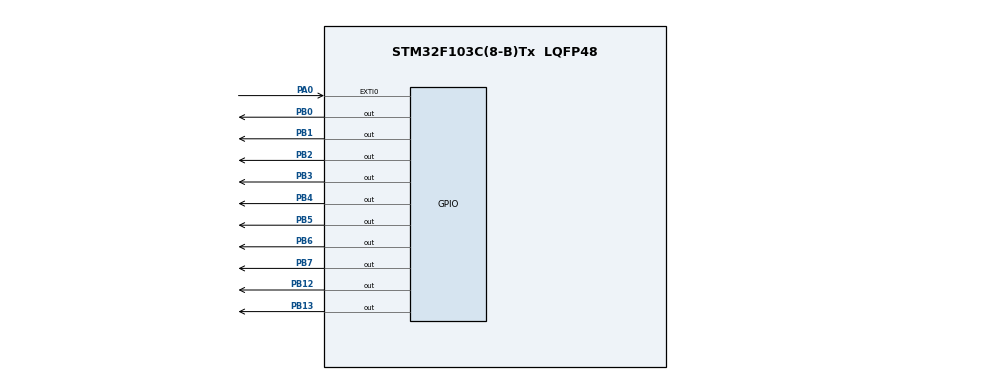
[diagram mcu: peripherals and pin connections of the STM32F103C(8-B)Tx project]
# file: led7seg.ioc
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Mcu.Family=STM32F1
Mcu.Name=STM32F103C(8-B)Tx
Mcu.Package=LQFP48
NVIC.EXTI0_IRQn=true\:1\:0\:true\:false\:true\:true\:true\:true
NVIC.PriorityGroup=NVIC_PRIORITYGROUP_4
NVIC.TIM2_IRQn=true\:0\:0\:true\:false\:true\:true\:true\:true
PA0-WKUP.GPIO_ModeDefaultEXTI=GPIO_MODE_IT_FALLING
PA0-WKUP.GPIO_PuPd=GPIO_PULLUP
PA0-WKUP.Signal=GPXTI0
PB0.Signal=GPIO_Output
PB1.Signal=GPIO_Output
PB12.Signal=GPIO_Output
PB13.Signal=GPIO_Output
PB2.Signal=GPIO_Output
PB3.Signal=GPIO_Output
PB4.Signal=GPIO_Output
PB5.Signal=GPIO_Output
PB6.Signal=GPIO_Output
PB7.Signal=GPIO_Output
ProjectManager.HeapSize=0x200
ProjectManager.StackSize=0x400
ProjectManager.TargetToolchain=MDK-ARM V5.32
RCC.APB1Freq_Value=8000000
RCC.APB2Freq_Value=8000000
TIM2.Period=5000
TIM2.Prescaler=8000 - 1
VP_SYS_VS_ND.Mode=No_Debug
VP_TIM2_VS_ClockSourceINT.Mode=Internal
board=custom

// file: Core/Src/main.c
/* USER CODE BEGIN Header */
/**
  ******************************************************************************
  * @file           : main.c
  * @brief          : Main program body
  ******************************************************************************
  * @attention
  *
  * Copyright (c) 2025 STMicroelectronics.
  * All rights reserved.
  *
  * This software is licensed under terms that can be found in the LICENSE file
  * in the root directory of this software component.
  * If no LICENSE file comes with this software, it is provided AS-IS.
  *
  ******************************************************************************
  */
/* USER CODE END Header */
#include "main.h"

TIM_HandleTypeDef htim2;

/* USER CODE BEGIN PV */
const uint8_t segment_map[10][7] = {
    {1, 1, 1, 1, 1, 1, 0}, // 0
    {0, 1, 1, 0, 0, 0, 0}, // 1
    {1, 1, 0, 1, 1, 0, 1}, // 2
    {1, 1, 1, 1, 0, 0, 1}, // 3
    {0, 1, 1, 0, 0, 1, 1}, // 4
    {1, 0, 1, 1, 0, 1, 1}, // 5
    {1, 0, 1, 1, 1, 1, 1}, // 6
    {1, 1, 1, 0, 0, 0, 0}, // 7
    {1, 1, 1, 1, 1, 1, 1}, // 8
    {1, 1, 1, 1, 0, 1, 1}  // 9
};

//
volatile uint8_t g_counter = 0;

// debounce)
volatile uint32_t g_last_press_time = 0;
/* USER CODE END PV */

void SystemClock_Config(void);
static void MX_GPIO_Init(void);
static void MX_TIM2_Init(void);
/* USER CODE BEGIN PFP */
void Display_Number(uint8_t num) {
    if (num > 9) return;

    // G�n gi� tr? cho 7 ch�n theo m?ng tra c?u
    HAL_GPIO_WritePin(GPIOB, GPIO_PIN_0, segment_map[num][0]); // a
    HAL_GPIO_WritePin(GPIOB, GPIO_PIN_1, segment_map[num][1]); // b
    HAL_GPIO_WritePin(GPIOB, GPIO_PIN_2, segment_map[num][2]); // c
    HAL_GPIO_WritePin(GPIOB, GPIO_PIN_3, segment_map[num][3]); // d
    HAL_GPIO_WritePin(GPIOB, GPIO_PIN_4, segment_map[num][4]); // e
    HAL_GPIO_WritePin(GPIOB, GPIO_PIN_5, segment_map[num][5]); // f
    HAL_GPIO_WritePin(GPIOB, GPIO_PIN_6, segment_map[num][6]); // g
}
/* USER CODE END PFP */

/* USER CODE BEGIN 0 */
/**
  * @brief  H�m Callback x? l� ng?t ngo�i EXTI.
  * @param  GPIO_Pin: Ch�n GPIO g�y ra ng?t
  * @retval None
  */
void HAL_TIM_PeriodElapsedCallback(TIM_HandleTypeDef *htim)
{
    if (htim->Instance == TIM2)
    {
        // Bật đèn D2 (PB14) lên để báo hiệu: "Timer đang chiếm quyền điều khiển!"
        HAL_GPIO_WritePin(GPIOB, GPIO_PIN_13, GPIO_PIN_SET);

        // === GIẢ LẬP TÁC VỤ NẶNG (TREO CPU KHOẢNG 2-3 GIÂY) ===
        // Số lần lặp này tùy thuộc tốc độ máy tính mô phỏng,
        // bạn có thể tăng/giảm số 2000000 để thay đổi thời gian treo.
        for (volatile uint32_t i = 0; i < 200000; i++)
        {
            // do nothing
        }

        // Tắt đèn D2 để báo hiệu: "Timer đã chạy xong"
        HAL_GPIO_WritePin(GPIOB, GPIO_PIN_13, GPIO_PIN_RESET);
    }
}
//C�u h?i v? m?c uu ti�n date: 6/11/25
void HAL_GPIO_EXTI_Callback(uint16_t GPIO_Pin) {
    // Check if pin PA0 create interrupt
    if (GPIO_Pin == GPIO_PIN_0) {

        // K? thu?t ch?ng d?i (Debouncing)
        // Ki?m tra xem l?n nh?n cu?i c�ng c� c�ch d�y > 200ms kh�ng
        uint32_t current_time = HAL_GetTick();
        if (current_time - g_last_press_time > 200) {

            //++
            g_counter++;

            if (g_counter > 9) {
                g_counter = 0;
            }
            //HAL_GPIO_TogglePin(
						if ( g_counter % 2 ==0)
						{
							HAL_GPIO_WritePin(GPIOB, GPIO_PIN_12, GPIO_PIN_SET);
							//HAL_GPIO_WritePin(GPIOB, GPIO_PIN_13, GPIO_PIN_RESET);
						}else{
							HAL_GPIO_WritePin(GPIOB, GPIO_PIN_12, GPIO_PIN_RESET);
							//HAL_GPIO_WritePin(GPIOB, GPIO_PIN_13, GPIO_PIN_SET);
						}
						//update last press time
            g_last_press_time = current_time;
        }
    }
}
/* USER CODE END 0 */

int main(void)
{

  /* MCU Configuration--------------------------------------------------------*/

  /* Reset of all peripherals, Initializes the Flash interface and the Systick. */
  HAL_Init();

  /* Configure the system clock */
  SystemClock_Config();

  /* Initialize all configured peripherals */
  MX_GPIO_Init();
  MX_TIM2_Init();
  /* USER CODE BEGIN 2 */
	HAL_TIM_Base_Start_IT(&htim2);
  /* USER CODE END 2 */

  /* Infinite loop */
  while (1)
  {

  }
}

void SystemClock_Config(void)
{
  RCC_OscInitTypeDef RCC_OscInitStruct = {0};
  RCC_ClkInitTypeDef RCC_ClkInitStruct = {0};

  /** Initializes the RCC Oscillators according to the specified parameters
  * in the RCC_OscInitTypeDef structure.
  */
  RCC_OscInitStruct.OscillatorType = RCC_OSCILLATORTYPE_HSI;
  RCC_OscInitStruct.HSIState = RCC_HSI_ON;
  RCC_OscInitStruct.HSICalibrationValue = RCC_HSICALIBRATION_DEFAULT;
  RCC_OscInitStruct.PLL.PLLState = RCC_PLL_NONE;
  if (HAL_RCC_OscConfig(&RCC_OscInitStruct) != HAL_OK)
  {
    Error_Handler();
  }

  /** Initializes the CPU, AHB and APB buses clocks
  */
  RCC_ClkInitStruct.ClockType = RCC_CLOCKTYPE_HCLK|RCC_CLOCKTYPE_SYSCLK
                              |RCC_CLOCKTYPE_PCLK1|RCC_CLOCKTYPE_PCLK2;
  RCC_ClkInitStruct.SYSCLKSource = RCC_SYSCLKSOURCE_HSI;
  RCC_ClkInitStruct.AHBCLKDivider = RCC_SYSCLK_DIV1;
  RCC_ClkInitStruct.APB1CLKDivider = RCC_HCLK_DIV1;
  RCC_ClkInitStruct.APB2CLKDivider = RCC_HCLK_DIV1;

  if (HAL_RCC_ClockConfig(&RCC_ClkInitStruct, FLASH_LATENCY_0) != HAL_OK)
  {
    Error_Handler();
  }
}

static void MX_TIM2_Init(void)
{

  TIM_ClockConfigTypeDef sClockSourceConfig = {0};
  TIM_MasterConfigTypeDef sMasterConfig = {0};

  htim2.Instance = TIM2;
  htim2.Init.Prescaler = 8000 - 1;
  htim2.Init.CounterMode = TIM_COUNTERMODE_UP;
  htim2.Init.Period = 5000;
  htim2.Init.ClockDivision = TIM_CLOCKDIVISION_DIV1;
  htim2.Init.AutoReloadPreload = TIM_AUTORELOAD_PRELOAD_DISABLE;
  if (HAL_TIM_Base_Init(&htim2) != HAL_OK)
  {
    Error_Handler();
  }
  sClockSourceConfig.ClockSource = TIM_CLOCKSOURCE_INTERNAL;
  if (HAL_TIM_ConfigClockSource(&htim2, &sClockSourceConfig) != HAL_OK)
  {
    Error_Handler();
  }
  sMasterConfig.MasterOutputTrigger = TIM_TRGO_RESET;
  sMasterConfig.MasterSlaveMode = TIM_MASTERSLAVEMODE_DISABLE;
  if (HAL_TIMEx_MasterConfigSynchronization(&htim2, &sMasterConfig) != HAL_OK)
  {
    Error_Handler();
  }

}

static void MX_GPIO_Init(void)
{
  GPIO_InitTypeDef GPIO_InitStruct = {0};

  /* GPIO Ports Clock Enable */
  __HAL_RCC_GPIOA_CLK_ENABLE();
  __HAL_RCC_GPIOB_CLK_ENABLE();

  /*Configure GPIO pin Output Level */
  HAL_GPIO_WritePin(GPIOB, GPIO_PIN_0|GPIO_PIN_1|GPIO_PIN_2|GPIO_PIN_12
                          |GPIO_PIN_13|GPIO_PIN_3|GPIO_PIN_4|GPIO_PIN_5
                          |GPIO_PIN_6|GPIO_PIN_7, GPIO_PIN_RESET);

  /*Configure GPIO pin : PA0 */
  GPIO_InitStruct.Pin = GPIO_PIN_0;
  GPIO_InitStruct.Mode = GPIO_MODE_IT_FALLING;
  GPIO_InitStruct.Pull = GPIO_PULLUP;
  HAL_GPIO_Init(GPIOA, &GPIO_InitStruct);

  /*Configure GPIO pins : PB0 PB1 PB2 PB12
                           PB13 PB3 PB4 PB5
                           PB6 PB7 */
  GPIO_InitStruct.Pin = GPIO_PIN_0|GPIO_PIN_1|GPIO_PIN_2|GPIO_PIN_12
                          |GPIO_PIN_13|GPIO_PIN_3|GPIO_PIN_4|GPIO_PIN_5
                          |GPIO_PIN_6|GPIO_PIN_7;
  GPIO_InitStruct.Mode = GPIO_MODE_OUTPUT_PP;
  GPIO_InitStruct.Pull = GPIO_NOPULL;
  GPIO_InitStruct.Speed = GPIO_SPEED_FREQ_LOW;
  HAL_GPIO_Init(GPIOB, &GPIO_InitStruct);

  /* EXTI interrupt init*/
  HAL_NVIC_SetPriority(EXTI0_IRQn, 1, 0);
  HAL_NVIC_EnableIRQ(EXTI0_IRQn);

}

void Error_Handler(void)
{
  __disable_irq();
  while (1)
  {
  }
}
